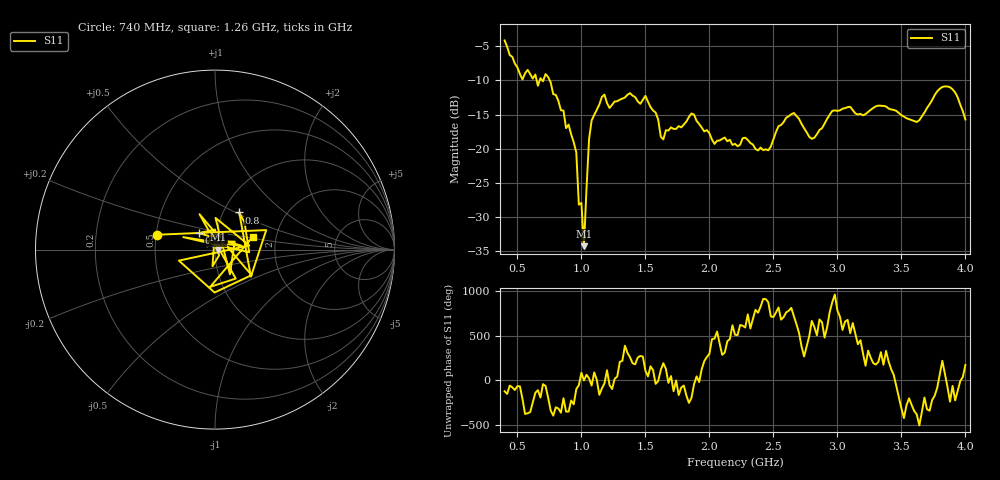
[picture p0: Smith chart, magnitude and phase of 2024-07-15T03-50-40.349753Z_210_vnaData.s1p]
!Created with skrf (http://scikit-rf.org).
# Hz S RI R 50.0
!freq ReS11 ImS11
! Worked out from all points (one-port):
!   181 points, 400 MHz to 4 GHz, reference 50 ohm
!   lowest |S11| = -34.2 dB at 1.02 GHz (marker M1), VSWR 1.04, Z = 52 - j0.0104 ohm
!   |S11| at or under -10 dB: 650.4 MHz to 674.3 MHz (23.98 MHz wide, 3.62 % of centre); 693.8 MHz to 702.7 MHz (8.857 MHz wide, 1.27 % of centre); 752.2 MHz to end of sweep
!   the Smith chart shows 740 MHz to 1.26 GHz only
!   S11 on the Smith chart (normalised r, x): 740 MHz: 0.51, +0.09; 800 MHz: 1.19, +0.52; 920 MHz: 0.82, +0.15; 1.26 GHz: 1.51, +0.22
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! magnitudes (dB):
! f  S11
! 400 MHz  -4.2
! 540 MHz  -9.9
! 740 MHz  -9.5
! 800 MHz  -12.1
! 860 MHz  -14.4
! 920 MHz  -17.9
! 960 MHz  -20.5
! 980 MHz  -28.2
! 1 GHz  -27.9
! 1.02 GHz  -34.2
! 1.06 GHz  -18.5
! 1.08 GHz  -15.9
! 1.18 GHz  -12.1
! 1.26 GHz  -13.1
! 1.3 GHz  -12.8
! 1.5 GHz  -12.3
! 1.64 GHz  -18.6
! 1.76 GHz  -16.7
! 1.86 GHz  -14.8
! 2.04 GHz  -19.3
! 2.2 GHz  -19.3
! 2.46 GHz  -20.2
! 2.66 GHz  -14.8
! 2.8 GHz  -18.5
! 3.1 GHz  -13.9
! 3.56 GHz  -15.7
! 3.84 GHz  -10.9
! 4 GHz  -15.7
